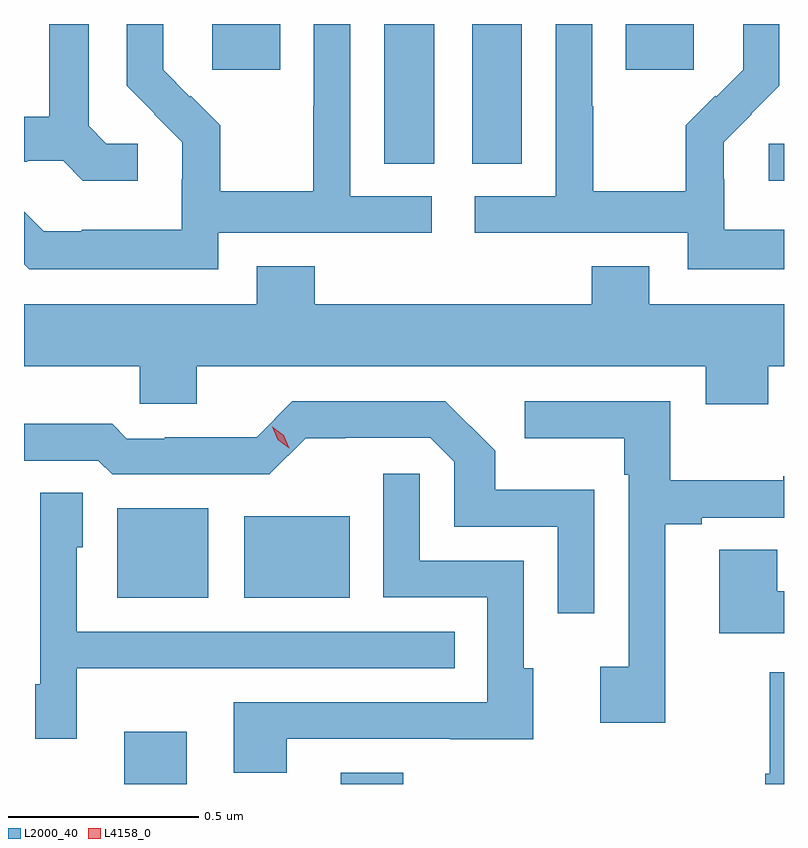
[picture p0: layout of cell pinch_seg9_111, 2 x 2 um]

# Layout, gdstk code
import gdstk
lib = gdstk.Library(unit=1e-6, precision=1e-09)
def R(c, l, rs):  # rectangles x0, y0, x1, y1
    for r in rs: c.add(gdstk.rectangle(r[:2], r[2:], *l))
def P(c, l, *ps):  # polygons
    for p in ps: c.add(gdstk.Polygon(p, *l))
L2000_40 = (2000, 40)
L4158_0 = (4158, 0)

pinch_seg9_111 = lib.new_cell('pinch_seg9_111')
R(pinch_seg9_111, L2000_40, [(1118.603,1182.001,1118.767,1182.139), (1119.173,1182.001,1119.337,1182.031), (1118.585,1182.491,1118.824,1182.727), (1118.918,1182.491,1119.196,1182.706), (1120.299,1183.589,1120.339,1183.686), (1119.287,1183.633,1119.418,1184.001), (1119.518,1183.633,1119.649,1184.001), (1118.834,1183.881,1119.013,1184.001), (1119.923,1183.881,1120.102,1184.001)])
P(pinch_seg9_111, L2000_40, [(1118.85,1183.452),(1119.412,1183.452),(1119.412,1183.548),(1119.198,1183.548),(1119.198,1184.001),(1119.102,1184.001),(1119.102,1183.784),(1119.1,1183.784),(1119.1,1183.561),(1118.855,1183.561),(1118.855,1183.735),(1118.778,1183.812),(1118.775,1183.809),(1118.705,1183.88),(1118.705,1184.001),(1118.61,1184.001),(1118.61,1183.838),(1118.683,1183.765),(1118.682,1183.764),(1118.756,1183.69),(1118.756,1183.593),(1118.754,1183.593),(1118.754,1183.459),(1118.491,1183.459),(1118.491,1183.455),(1118.391,1183.455),(1118.339,1183.507),(1118.339,1183.369),(1118.353,1183.355),(1118.85,1183.355)],
  [(1120.339,1183.459),(1120.182,1183.459),(1120.182,1183.593),(1120.18,1183.593),(1120.18,1183.69),(1120.254,1183.764),(1120.253,1183.765),(1120.326,1183.838),(1120.326,1184.001),(1120.232,1184.001),(1120.232,1183.88),(1120.161,1183.809),(1120.158,1183.812),(1120.081,1183.735),(1120.081,1183.561),(1119.837,1183.561),(1119.837,1183.784),(1119.834,1183.784),(1119.834,1184.001),(1119.738,1184.001),(1119.738,1183.548),(1119.525,1183.548),(1119.525,1183.452),(1120.086,1183.452),(1120.086,1183.355),(1120.339,1183.355)],
  [(1118.638,1183.686),(1118.556,1183.686),(1118.509,1183.733),(1118.509,1184.001),(1118.405,1184.001),(1118.405,1183.757),(1118.339,1183.757),(1118.339,1183.638),(1118.348,1183.638),(1118.348,1183.641),(1118.442,1183.641),(1118.494,1183.589),(1118.638,1183.589)],
  [(1120.297,1183.1),(1120.339,1183.1),(1120.339,1183.264),(1119.985,1183.264),(1119.985,1183.363),(1119.833,1183.363),(1119.833,1183.264),(1119.104,1183.264),(1119.104,1183.363),(1118.951,1183.363),(1118.951,1183.264),(1118.339,1183.264),(1118.339,1183.1),(1118.644,1183.1),(1118.644,1183.002),(1118.794,1183.002),(1118.794,1183.1),(1120.133,1183.1),(1120.133,1183.001),(1120.297,1183.001)],
  [(1120.027,1182.684),(1120.123,1182.684),(1120.123,1182.702),(1120.339,1182.702),(1120.339,1182.811),(1120.337,1182.811),(1120.337,1182.8),(1120.039,1182.8),(1120.039,1183.008),(1119.657,1183.008),(1119.657,1182.911),(1119.918,1182.911),(1119.918,1182.815),(1119.93,1182.815),(1119.93,1182.31),(1119.855,1182.31),(1119.855,1182.162),(1120.027,1182.162)],
  [(1119.84,1182.775),(1119.579,1182.775),(1119.579,1182.878),(1119.448,1183.008),(1119.045,1183.008),(1118.951,1182.914),(1118.71,1182.914),(1118.71,1182.909),(1118.61,1182.909),(1118.571,1182.949),(1118.339,1182.949),(1118.339,1182.852),(1118.535,1182.852),(1118.571,1182.816),(1118.985,1182.816),(1119.08,1182.911),(1119.184,1182.911),(1119.184,1182.912),(1119.408,1182.912),(1119.471,1182.849),(1119.471,1182.678),(1119.744,1182.678),(1119.744,1182.45),(1119.84,1182.45)],
  [(1119.031,1182.12),(1119.461,1182.12),(1119.461,1182.119),(1119.679,1182.119),(1119.679,1182.306),(1119.654,1182.306),(1119.654,1182.588),(1119.381,1182.588),(1119.381,1182.817),(1119.285,1182.817),(1119.285,1182.492),(1119.558,1182.492),(1119.558,1182.216),(1118.891,1182.216),(1118.891,1182.03),(1119.031,1182.03)],
  [(1118.478,1182.305),(1118.795,1182.305),(1118.795,1182.306),(1119.473,1182.306),(1119.473,1182.402),(1118.478,1182.402),(1118.478,1182.624),(1118.494,1182.624),(1118.494,1182.767),(1118.382,1182.767),(1118.382,1182.264),(1118.369,1182.264),(1118.369,1182.12),(1118.478,1182.12)],
  [(1120.339,1182.508),(1120.321,1182.508),(1120.321,1182.617),(1120.169,1182.617),(1120.169,1182.398),(1120.339,1182.398)],
  [(1120.339,1182.295),(1120.301,1182.295),(1120.301,1182.028),(1120.289,1182.028),(1120.289,1182.001),(1120.339,1182.001)])
P(pinch_seg9_111, L4158_0, [(1119.037,1182.885),(1119.007,1182.907),(1118.992,1182.941),(1118.992,1182.941),(1118.992,1182.941),(1119.022,1182.919),(1119.037,1182.885),(1119.037,1182.885)])

lib.write_gds('pinch_seg9_111.gds')
